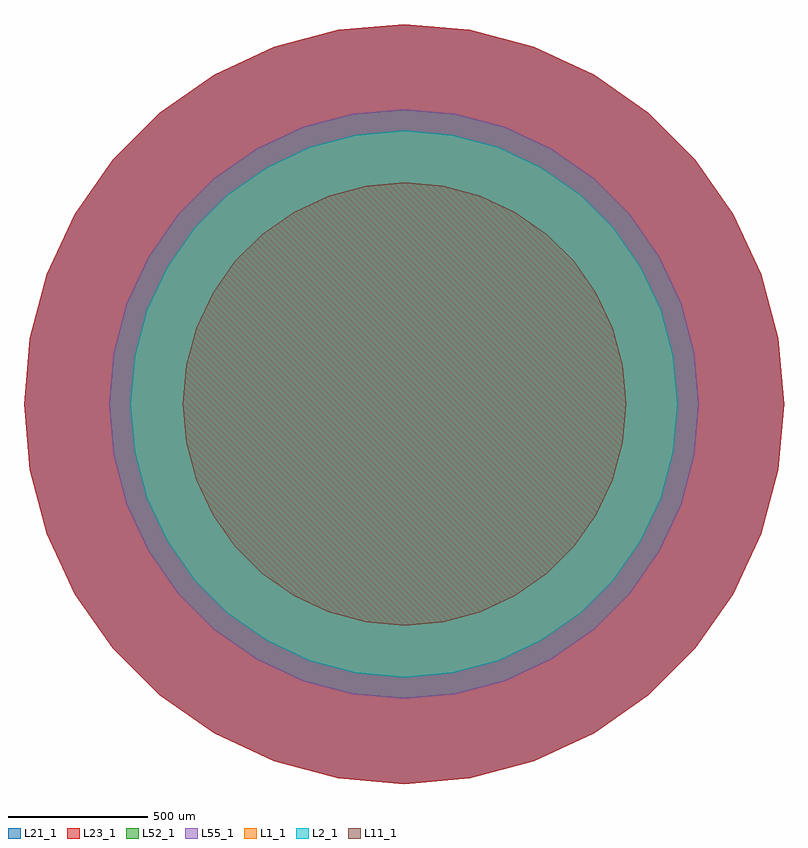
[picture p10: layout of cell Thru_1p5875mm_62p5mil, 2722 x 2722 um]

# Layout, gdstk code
import gdstk
lib = gdstk.Library(unit=1e-6, precision=1e-09)
def P(c, l, *ps):  # polygons
    for p in ps: c.add(gdstk.Polygon(p, *l))
L1_1 = (1, 1)
L2_1 = (2, 1)
L11_1 = (11, 1)
L21_1 = (21, 1)
L23_1 = (23, 1)
L52_1 = (52, 1)
L55_1 = (55, 1)

thru_1p5875mm_62p5mil = lib.new_cell('Thru_1p5875mm_62p5mil')
P(thru_1p5875mm_62p5mil, L1_1, [(980,0),(965.112,-170.175),(920.899,-335.18),(848.705,-490),(750.724,-629.932),(629.932,-750.724),(490,-848.705),(335.18,-920.899),(170.175,-965.112),(0,-980),(-170.175,-965.112),(-335.18,-920.899),(-490,-848.705),(-629.932,-750.724),(-750.724,-629.932),(-848.705,-490),(-920.899,-335.18),(-965.112,-170.175),(-980,0),(-965.112,170.175),(-920.899,335.18),(-848.705,490),(-750.724,629.932),(-629.932,750.724),(-490,848.705),(-335.18,920.899),(-170.175,965.112),(0,980),(170.175,965.112),(335.18,920.899),(490,848.705),(629.932,750.724),(750.724,629.932),(848.705,490),(920.899,335.18),(965.112,170.175)])
P(thru_1p5875mm_62p5mil, L2_1, [(980,0),(965.112,-170.175),(920.899,-335.18),(848.705,-490),(750.724,-629.932),(629.932,-750.724),(490,-848.705),(335.18,-920.899),(170.175,-965.112),(0,-980),(-170.175,-965.112),(-335.18,-920.899),(-490,-848.705),(-629.932,-750.724),(-750.724,-629.932),(-848.705,-490),(-920.899,-335.18),(-965.112,-170.175),(-980,0),(-965.112,170.175),(-920.899,335.18),(-848.705,490),(-750.724,629.932),(-629.932,750.724),(-490,848.705),(-335.18,920.899),(-170.175,965.112),(0,980),(170.175,965.112),(335.18,920.899),(490,848.705),(629.932,750.724),(750.724,629.932),(848.705,490),(920.899,335.18),(965.112,170.175)])
P(thru_1p5875mm_62p5mil, L11_1, [(795.702,0.213),(783.643,-137.62),(747.833,-271.265),(689.36,-396.662),(610,-510),(512.165,-607.835),(398.827,-687.195),(273.43,-745.668),(139.785,-781.478),(1.952,-793.537),(-135.881,-781.478),(-269.526,-745.668),(-394.923,-687.195),(-508.261,-607.835),(-606.096,-510),(-685.456,-396.662),(-743.929,-271.265),(-779.739,-137.62),(-791.798,0.213),(-779.739,138.046),(-743.929,271.691),(-685.456,397.088),(-606.096,510.426),(-508.261,608.261),(-394.923,687.621),(-269.526,746.094),(-135.881,781.904),(1.952,793.963),(139.785,781.904),(273.43,746.094),(398.827,687.621),(512.165,608.261),(610,510.426),(689.36,397.088),(747.833,271.691),(783.643,138.046)])
P(thru_1p5875mm_62p5mil, L21_1, [(1361,0),(1340.323,-236.335),(1278.922,-465.489),(1178.661,-680.5),(1042.586,-874.834),(874.834,-1042.586),(680.5,-1178.661),(465.489,-1278.922),(236.335,-1340.323),(0,-1361),(-236.335,-1340.323),(-465.489,-1278.922),(-680.5,-1178.661),(-874.834,-1042.586),(-1042.586,-874.834),(-1178.661,-680.5),(-1278.922,-465.489),(-1340.323,-236.335),(-1361,0),(-1340.323,236.335),(-1278.922,465.489),(-1178.661,680.5),(-1042.586,874.834),(-874.834,1042.586),(-680.5,1178.661),(-465.489,1278.922),(-236.335,1340.323),(0,1361),(236.335,1340.323),(465.489,1278.922),(680.5,1178.661),(874.834,1042.586),(1042.586,874.834),(1178.661,680.5),(1278.922,465.489),(1340.323,236.335)])
P(thru_1p5875mm_62p5mil, L23_1, [(1361,0),(1340.323,-236.335),(1278.922,-465.489),(1178.661,-680.5),(1042.586,-874.834),(874.834,-1042.586),(680.5,-1178.661),(465.489,-1278.922),(236.335,-1340.323),(0,-1361),(-236.335,-1340.323),(-465.489,-1278.922),(-680.5,-1178.661),(-874.834,-1042.586),(-1042.586,-874.834),(-1178.661,-680.5),(-1278.922,-465.489),(-1340.323,-236.335),(-1361,0),(-1340.323,236.335),(-1278.922,465.489),(-1178.661,680.5),(-1042.586,874.834),(-874.834,1042.586),(-680.5,1178.661),(-465.489,1278.922),(-236.335,1340.323),(0,1361),(236.335,1340.323),(465.489,1278.922),(680.5,1178.661),(874.834,1042.586),(1042.586,874.834),(1178.661,680.5),(1278.922,465.489),(1340.323,236.335)])
P(thru_1p5875mm_62p5mil, L52_1, [(1056,0),(1039.957,-183.372),(992.315,-361.173),(914.523,-528),(808.943,-678.784),(678.784,-808.943),(528,-914.523),(361.173,-992.315),(183.372,-1039.957),(0,-1056),(-183.372,-1039.957),(-361.173,-992.315),(-528,-914.523),(-678.784,-808.943),(-808.943,-678.784),(-914.523,-528),(-992.315,-361.173),(-1039.957,-183.372),(-1056,0),(-1039.957,183.372),(-992.315,361.173),(-914.523,528),(-808.943,678.784),(-678.784,808.943),(-528,914.523),(-361.173,992.315),(-183.372,1039.957),(0,1056),(183.372,1039.957),(361.173,992.315),(528,914.523),(678.784,808.943),(808.943,678.784),(914.523,528),(992.315,361.173),(1039.957,183.372)])
P(thru_1p5875mm_62p5mil, L55_1, [(1056,0),(1039.957,-183.372),(992.315,-361.173),(914.523,-528),(808.943,-678.784),(678.784,-808.943),(528,-914.523),(361.173,-992.315),(183.372,-1039.957),(0,-1056),(-183.372,-1039.957),(-361.173,-992.315),(-528,-914.523),(-678.784,-808.943),(-808.943,-678.784),(-914.523,-528),(-992.315,-361.173),(-1039.957,-183.372),(-1056,0),(-1039.957,183.372),(-992.315,361.173),(-914.523,528),(-808.943,678.784),(-678.784,808.943),(-528,914.523),(-361.173,992.315),(-183.372,1039.957),(0,1056),(183.372,1039.957),(361.173,992.315),(528,914.523),(678.784,808.943),(808.943,678.784),(914.523,528),(992.315,361.173),(1039.957,183.372)])
thru_1p5875mm_62p5mil.add(gdstk.FlexPath([(1.952,50.213),(1.952,-49.787)], 0, ends="round", simple_path=True, layer=1, datatype=1))  # L1_1
thru_1p5875mm_62p5mil.add(gdstk.FlexPath([(-48.048,0.213),(51.952,0.213)], 0, ends="round", simple_path=True, layer=1, datatype=1))  # L1_1
thru_1p5875mm_62p5mil.add(gdstk.FlexPath([(51.952,0.213),(-48.048,0.213)], 0, ends="round", simple_path=True, layer=1, datatype=1))  # L1_1
thru_1p5875mm_62p5mil.add(gdstk.FlexPath([(1.952,-49.787),(1.952,50.213)], 0, ends="round", simple_path=True, layer=1, datatype=1))  # L1_1
thru_1p5875mm_62p5mil.add(gdstk.FlexPath([(51.952,0.213),(-48.048,0.213)], 0, ends="round", simple_path=True, layer=1, datatype=1))  # L1_1
thru_1p5875mm_62p5mil.add(gdstk.FlexPath([(1.952,-49.787),(1.952,50.213)], 0, ends="round", simple_path=True, layer=1, datatype=1))  # L1_1
thru_1p5875mm_62p5mil.add(gdstk.FlexPath([(-48.048,0.213),(51.952,0.213)], 0, ends="round", simple_path=True, layer=1, datatype=1))  # L1_1
thru_1p5875mm_62p5mil.add(gdstk.FlexPath([(1.952,50.213),(1.952,-49.787)], 0, ends="round", simple_path=True, layer=1, datatype=1))  # L1_1

lib.write_gds('Thru_1p5875mm_62p5mil.gds')
